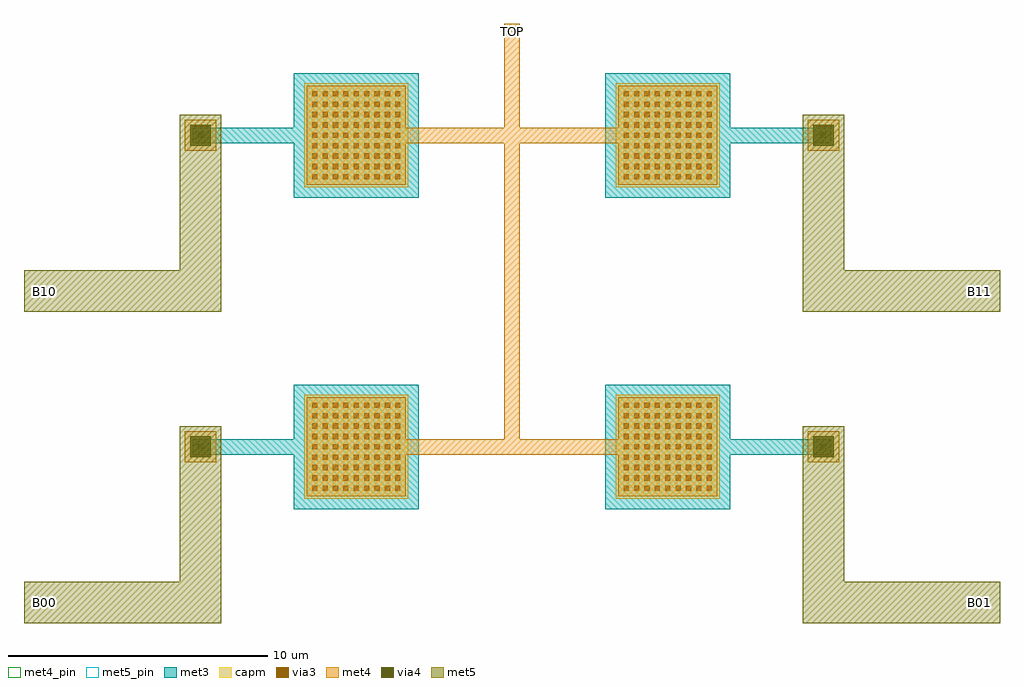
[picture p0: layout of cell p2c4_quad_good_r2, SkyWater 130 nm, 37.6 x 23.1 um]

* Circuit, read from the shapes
.subckt p2c4_quad_good_r2 B00 B01 B10 B11 TOP
XC1 TOP B00 sky130_fd_pr__cap_mim_m3_1 w=4 l=4
XC2 TOP B10 sky130_fd_pr__cap_mim_m3_1 w=4 l=4
XC3 TOP B01 sky130_fd_pr__cap_mim_m3_1 w=4 l=4
XC4 TOP B11 sky130_fd_pr__cap_mim_m3_1 w=4 l=4
.ends

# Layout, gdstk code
import gdstk
lib = gdstk.Library(unit=1e-6, precision=1e-09)
def R(c, l, rs):  # rectangles x0, y0, x1, y1
    for r in rs: c.add(gdstk.rectangle(r[:2], r[2:], *l))
def A(c, l, x, y, w, h, nx, ny, dx, dy):  # array of equal rectangles
    R(c, l, [(x+i*dx, y+j*dy, x+i*dx+w, y+j*dy+h) for i in range(nx) for j in range(ny)])
met3 = (70, 20)
via3 = (70, 44)
met4_pin = (71, 16)
met4 = (71, 20)
via4 = (71, 44)
met5_pin = (72, 16)
met5 = (72, 20)
capm = (89, 44)

p2c4_quad_good_r2 = lib.new_cell('p2c4_quad_good_r2')
R(p2c4_quad_good_r2, met3, [(-0.4,-0.4,4.4,4.4), (11.6,-0.4,16.4,4.4), (-4.3,1.7,-0.2,2.3), (16.2,1.7,20.3,2.3), (-4.2,1.8,-3.8,2.2), (19.8,1.8,20.2,2.2), (-0.4,11.6,4.4,16.4), (11.6,11.6,16.4,16.4), (-4.3,13.7,-0.2,14.3), (16.2,13.7,20.3,14.3), (-4.2,13.8,-3.8,14.2), (19.8,13.8,20.2,14.2)])
A(p2c4_quad_good_r2, via3, 0.3, 0.3, 0.2, 0.2, 9, 9, 0.4, 0.4)
A(p2c4_quad_good_r2, via3, 12.3, 0.3, 0.2, 0.2, 9, 9, 0.4, 0.4)
A(p2c4_quad_good_r2, via3, 0.3, 12.3, 0.2, 0.2, 9, 9, 0.4, 0.4)
A(p2c4_quad_good_r2, via3, 12.3, 12.3, 0.2, 0.2, 9, 9, 0.4, 0.4)
R(p2c4_quad_good_r2, via3, [(-4.1,1.9,-3.9,2.1), (19.9,1.9,20.1,2.1), (-4.1,13.9,-3.9,14.1), (19.9,13.9,20.1,14.1)])
R(p2c4_quad_good_r2, met4_pin, [(7.99,17.99,8.01,18.01)])
R(p2c4_quad_good_r2, met4, [(0.1,0.1,3.9,3.9), (12.1,0.1,15.9,3.9), (-4.6,1.4,-3.4,2.6), (19.4,1.4,20.6,2.6), (3.7,1.7,12.3,2.3), (7.7,1.7,8.3,14.3), (0.1,12.1,3.9,15.9), (12.1,12.1,15.9,15.9), (-4.6,13.4,-3.4,14.6), (19.4,13.4,20.6,14.6), (3.7,13.7,12.3,14.3), (7.7,14.1,8.3,18.3)])
R(p2c4_quad_good_r2, via4, [(-4.4,1.6,-3.6,2.4), (19.6,1.6,20.4,2.4), (-4.4,13.6,-3.6,14.4), (19.6,13.6,20.4,14.4)])
R(p2c4_quad_good_r2, met5_pin, [(-10.01,-4.01,-9.99,-3.99), (25.99,-4.01,26.01,-3.99), (-10.01,7.99,-9.99,8.01), (25.99,7.99,26.01,8.01)])
R(p2c4_quad_good_r2, met5, [(-10.8,-4.8,-3.2,-3.2), (-4.8,-4.8,-3.2,2.8), (19.2,-4.8,20.8,2.8), (19.2,-4.8,26.8,-3.2), (-10.8,7.2,-3.2,8.8), (-4.8,7.2,-3.2,14.8), (19.2,7.2,20.8,14.8), (19.2,7.2,26.8,8.8)])
R(p2c4_quad_good_r2, capm, [(0,0,4,4), (12,0,16,4), (0,12,4,16), (12,12,16,16)])
p2c4_quad_good_r2.add(gdstk.Label('TOP', (8,18), layer=71, texttype=5))
p2c4_quad_good_r2.add(gdstk.Label('B00', (-10,-4), layer=72, texttype=5))
p2c4_quad_good_r2.add(gdstk.Label('B01', (26,-4), layer=72, texttype=5))
p2c4_quad_good_r2.add(gdstk.Label('B10', (-10,8), layer=72, texttype=5))
p2c4_quad_good_r2.add(gdstk.Label('B11', (26,8), layer=72, texttype=5))

lib.write_gds('p2c4_quad_good_r2.gds')
